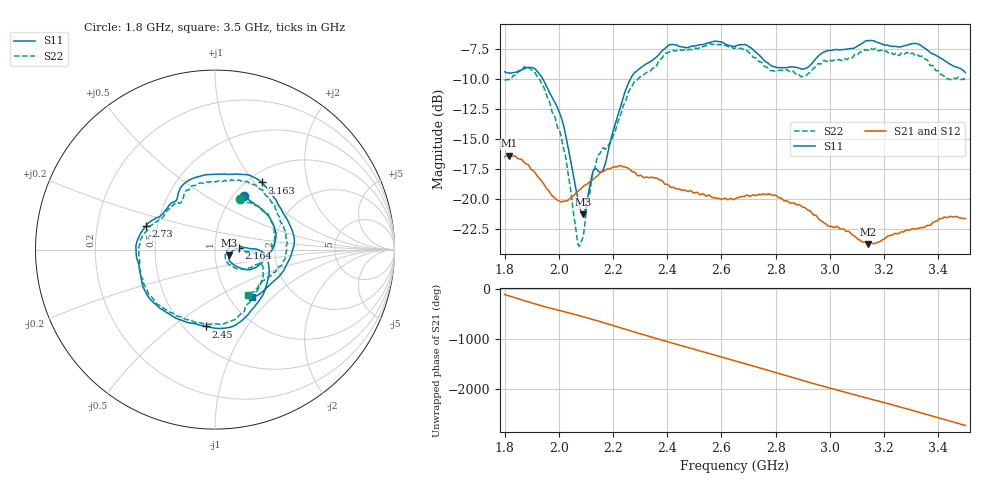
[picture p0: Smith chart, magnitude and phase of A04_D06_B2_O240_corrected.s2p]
! Created with skrf 1.9.0 (http://scikit-rf.org).
# Hz S RI R 50.0
!freq ReS11 ImS11 ReS21 ImS21 ReS12 ImS12 ReS22 ImS22
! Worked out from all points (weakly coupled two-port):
!   1601 points, 1.8 GHz to 3.5 GHz, reference 50 ohm
!   highest |S21| = -16.41 dB at 1.816 GHz (marker M1); lowest = -23.8 dB at 3.142 GHz (marker M2)
!   lowest |S11| = -21.3 dB at 2.089 GHz (marker M3), VSWR 1.19, Z = 58.5 - j3.83 ohm
!   |S11| at or under -10 dB: 1.941 GHz to 2.264 GHz (322.6 MHz wide, 15.3 % of centre)
!   |S22| runs from -24.0 to -7.0 dB; largest |S21 - S12| = 0.0026
!   S11 on the Smith chart (normalised r, x): 1.8 GHz: 1.13, +0.75; 2.164 GHz: 1.31, +0.02; 2.45 GHz: 0.63, -0.67; 2.73 GHz: 0.43, +0.14; 3.163 GHz: 1.15, +1.09; 3.5 GHz: 1.27, -0.76
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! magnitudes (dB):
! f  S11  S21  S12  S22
! 1.8 GHz  -9.4  -16.5  -16.5  -10.0
! 1.816 GHz  -9.5  -16.4  -16.4  -10.0
! 1.888 GHz  -9.0  -17.2  -17.2  -9.1
! 1.942 GHz  -10.0  -18.7  -18.7  -10.6
! 2.013 GHz  -13.5  -20.2  -20.2  -15.3
! 2.068 GHz  -19.7  -19.4  -19.4  -23.4
! 2.084 GHz  -21.2  -19.1  -19.1  -23.5
! 2.089 GHz  -21.3  -19.0  -19.0  -23.2
! 2.128 GHz  -17.6  -18.3  -18.3  -17.7
! 2.164 GHz  -17.5  -17.7  -17.7  -15.7
! 2.261 GHz  -10.1  -17.5  -17.5  -10.9
! 2.367 GHz  -8.0  -18.4  -18.3  -8.5
! 2.45 GHz  -7.3  -19.3  -19.2  -7.6
! 2.65 GHz  -7.3  -20.0  -20.0  -7.4
! 2.73 GHz  -7.8  -19.7  -19.7  -8.3
! 2.805 GHz  -9.0  -19.8  -19.8  -9.3
! 2.934 GHz  -8.7  -21.2  -21.2  -9.2
! 3.142 GHz  -6.8  -23.8  -23.7  -7.6
! 3.163 GHz  -6.8  -23.8  -23.7  -7.5
! 3.217 GHz  -7.2  -23.1  -23.1  -7.8
! 3.325 GHz  -7.1  -22.5  -22.4  -8.0
! 3.5 GHz  -9.5  -21.7  -21.6  -10.1
